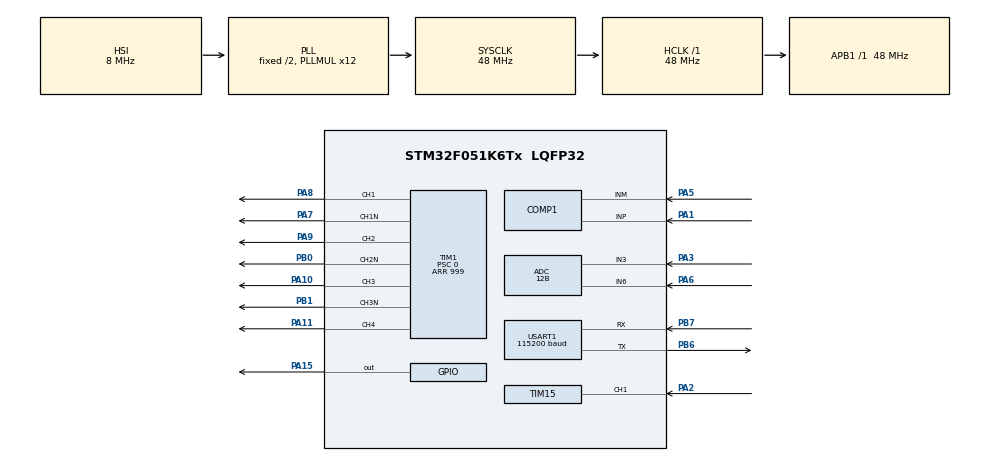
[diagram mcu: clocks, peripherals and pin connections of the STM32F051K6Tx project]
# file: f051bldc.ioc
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ADC.ClockPrescaler=ADC_CLOCK_ASYNC_DIV1
ADC.ContinuousConvMode=DISABLE
ADC.DMAContinuousRequests=ENABLE
ADC.DataAlign=ADC_DATAALIGN_RIGHT
ADC.DiscontinuousConvMode=ENABLE
ADC.EOCSelection=ADC_EOC_SEQ_CONV
ADC.EnableAnalogWatchDog=false
ADC.ExternalTrigConv=ADC_EXTERNALTRIGCONV_T1_CC4
ADC.ExternalTrigConvEdge=ADC_EXTERNALTRIGCONVEDGE_RISING
ADC.LowPowerAutoPowerOff=DISABLE
ADC.LowPowerAutoWait=DISABLE
ADC.Overrun=ADC_OVR_DATA_PRESERVED
ADC.Resolution=ADC_RESOLUTION_12B
ADC.SamplingTime=ADC_SAMPLETIME_239CYCLES_5
ADC.ScanConvMode=ADC_SCAN_DIRECTION_FORWARD
COMP1.Hysteresis=COMP_HYSTERESIS_LOW
COMP1.TriggerMode=COMP_TRIGGERMODE_IT_RISING_FALLING
Dma.ADC.0.Direction=DMA_PERIPH_TO_MEMORY
Dma.ADC.0.Instance=DMA1_Channel1
Dma.ADC.0.MemDataAlignment=DMA_MDATAALIGN_WORD
Dma.ADC.0.MemInc=DMA_MINC_ENABLE
Dma.ADC.0.Mode=DMA_CIRCULAR
Dma.ADC.0.PeriphDataAlignment=DMA_PDATAALIGN_WORD
Dma.ADC.0.PeriphInc=DMA_PINC_DISABLE
Dma.ADC.0.Priority=DMA_PRIORITY_MEDIUM
Dma.Request0=ADC
Dma.Request1=TIM15_CH1/UP/TRIG/COM
Dma.Request2=USART1_RX
Dma.Request3=USART1_TX
Dma.TIM15_CH1/UP/TRIG/COM.1.Direction=DMA_PERIPH_TO_MEMORY
Dma.TIM15_CH1/UP/TRIG/COM.1.Instance=DMA1_Channel5
Dma.TIM15_CH1/UP/TRIG/COM.1.MemDataAlignment=DMA_MDATAALIGN_WORD
Dma.TIM15_CH1/UP/TRIG/COM.1.MemInc=DMA_MINC_ENABLE
Dma.TIM15_CH1/UP/TRIG/COM.1.Mode=DMA_NORMAL
Dma.TIM15_CH1/UP/TRIG/COM.1.PeriphDataAlignment=DMA_PDATAALIGN_HALFWORD
Dma.TIM15_CH1/UP/TRIG/COM.1.PeriphInc=DMA_PINC_DISABLE
Dma.TIM15_CH1/UP/TRIG/COM.1.Priority=DMA_PRIORITY_LOW
Dma.USART1_RX.2.Direction=DMA_PERIPH_TO_MEMORY
Dma.USART1_RX.2.Instance=DMA1_Channel3
Dma.USART1_RX.2.MemDataAlignment=DMA_MDATAALIGN_BYTE
Dma.USART1_RX.2.MemInc=DMA_MINC_ENABLE
Dma.USART1_RX.2.Mode=DMA_NORMAL
Dma.USART1_RX.2.PeriphDataAlignment=DMA_PDATAALIGN_BYTE
Dma.USART1_RX.2.PeriphInc=DMA_PINC_DISABLE
Dma.USART1_RX.2.Priority=DMA_PRIORITY_LOW
Dma.USART1_TX.3.Direction=DMA_MEMORY_TO_PERIPH
Dma.USART1_TX.3.Instance=DMA1_Channel2
Dma.USART1_TX.3.MemDataAlignment=DMA_MDATAALIGN_BYTE
Dma.USART1_TX.3.MemInc=DMA_MINC_ENABLE
Dma.USART1_TX.3.Mode=DMA_NORMAL
Dma.USART1_TX.3.PeriphDataAlignment=DMA_PDATAALIGN_BYTE
Dma.USART1_TX.3.PeriphInc=DMA_PINC_DISABLE
Dma.USART1_TX.3.Priority=DMA_PRIORITY_LOW
IWDG.Prescaler=IWDG_PRESCALER_16
IWDG.Reload=4000
IWDG.Window=4095
Mcu.Family=STM32F0
Mcu.Name=STM32F051K6Tx
Mcu.Package=LQFP32
NVIC.ADC1_COMP_IRQn=true\:1\:0\:true\:false\:true\:false\:true
NVIC.DMA1_Channel1_IRQn=true\:2\:0\:true\:false\:true\:false\:true
NVIC.DMA1_Channel2_3_IRQn=true\:0\:0\:false\:false\:true\:false\:true
NVIC.DMA1_Channel4_5_IRQn=true\:2\:0\:true\:false\:true\:false\:true
PA1.Mode=INP
PA1.Signal=COMP1_INP
PA10.Signal=S_TIM1_CH3
PA11.Signal=S_TIM1_CH4
PA13.Mode=Serial_Wire
PA13.Signal=SYS_SWDIO
PA14.Mode=Serial_Wire
PA14.Signal=SYS_SWCLK
PA15.Signal=GPIO_Output
PA2.Signal=S_TIM15_CH1
PA3.Mode=IN3
PA3.Signal=ADC_IN3
PA5.Mode=INM
PA5.Signal=COMP1_INM
PA6.Mode=IN6
PA6.Signal=ADC_IN6
PA7.Mode=PWM Generation1 CH1 CH1N
PA7.Signal=TIM1_CH1N
PA8.Signal=S_TIM1_CH1
PA9.Signal=S_TIM1_CH2
PB0.Mode=PWM Generation2 CH2 CH2N
PB0.Signal=TIM1_CH2N
PB1.Mode=PWM Generation3 CH3 CH3N
PB1.Signal=TIM1_CH3N
PB6.Mode=Asynchronous
PB6.Signal=USART1_TX
PB7.Mode=Asynchronous
PB7.Signal=USART1_RX
ProjectManager.HeapSize=0x200
ProjectManager.StackSize=0x400
ProjectManager.TargetToolchain=Makefile
RCC.AHBFreq_Value=48000000
RCC.APB1Freq_Value=48000000
RCC.APB1TimFreq_Value=48000000
RCC.HCLKFreq_Value=48000000
RCC.PLLMUL=RCC_PLL_MUL12
RCC.SYSCLKFreq_VALUE=48000000
RCC.SYSCLKSource=RCC_SYSCLKSOURCE_PLLCLK
SH.S_TIM15_CH1.0=TIM15_CH1,Input_Capture1_from_TI1
SH.S_TIM1_CH1.0=TIM1_CH1,PWM Generation1 CH1 CH1N
SH.S_TIM1_CH2.0=TIM1_CH2,PWM Generation2 CH2 CH2N
SH.S_TIM1_CH3.0=TIM1_CH3,PWM Generation3 CH3 CH3N
SH.S_TIM1_CH4.0=TIM1_CH4,PWM Generation4 CH4
TIM1.Channel-PWM\ Generation1\ CH1\ CH1N=TIM_CHANNEL_1
TIM1.Channel-PWM\ Generation2\ CH2\ CH2N=TIM_CHANNEL_2
TIM1.Channel-PWM\ Generation3\ CH3\ CH3N=TIM_CHANNEL_3
TIM1.Channel-PWM\ Generation4\ CH4=TIM_CHANNEL_4
TIM1.CounterMode=TIM_COUNTERMODE_CENTERALIGNED1
TIM1.DeadTime=60
TIM1.Period=999
TIM1.Prescaler=0
TIM1.TIM_MasterOutputTrigger=TIM_TRGO_RESET
TIM1.TIM_MasterSlaveMode=TIM_MASTERSLAVEMODE_DISABLE
TIM15.Channel-Input_Capture1_from_TI1=TIM_CHANNEL_1
TIM15.ICPolarity_CH1=TIM_INPUTCHANNELPOLARITY_BOTHEDGE
TIM15.Period=0xffff
TIM2.Period=5000
TIM2.Prescaler=100
TIM3.Period=65535
TIM3.Prescaler=10
USART1.BaudRate=115200
USART1.VirtualMode-Asynchronous=VM_ASYNC
VP_IWDG_VS_IWDG.Mode=IWDG_Activate
VP_TIM15_VS_ClockSourceINT.Mode=Internal
VP_TIM1_VS_ClockSourceINT.Mode=Internal
VP_TIM2_VS_ClockSourceINT.Mode=Internal
VP_TIM3_VS_ClockSourceINT.Mode=Internal
board=f051bldc

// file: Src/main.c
/* USER CODE BEGIN Header */
/**
  ******************************************************************************
  * @file           : main.c
  * @brief          : Main program body
  ******************************************************************************
  * @attention
  *
  * <h2><center>&copy; Copyright (c) 2019 STMicroelectronics.
  * All rights reserved.</center></h2>
  *
  * This software component is licensed by ST under BSD 3-Clause license,
  * the "License"; You may not use this file except in compliance with the
  * License. You may obtain a copy of the License at:
  *                        opensource.org/licenses/BSD-3-Clause
  *
  ******************************************************************************
  */
/* USER CODE END Header */

#include "main.h"

/* USER CODE BEGIN Includes */
#include "eeprom.h"
/* USER CODE END Includes */

ADC_HandleTypeDef hadc;
DMA_HandleTypeDef hdma_adc;

COMP_HandleTypeDef hcomp1;

IWDG_HandleTypeDef hiwdg;

TIM_HandleTypeDef htim1;
TIM_HandleTypeDef htim2;
TIM_HandleTypeDef htim3;
TIM_HandleTypeDef htim15;
DMA_HandleTypeDef hdma_tim15_ch1_up_trig_com;

UART_HandleTypeDef huart1;
DMA_HandleTypeDef hdma_usart1_rx;
DMA_HandleTypeDef hdma_usart1_tx;

/* USER CODE BEGIN PV */
/* Private variables ---------------------------------------------------------*/

#define MP6531
//#define FD6288

uint16_t VirtAddVarTab[NB_OF_VAR] = {0x5555, 0x6666, 0x7777};
uint16_t VarDataTab[NB_OF_VAR] = {0, 0, 0};
uint16_t VarValue, VarDataTmp;

uint32_t ee_status;

// variables to use for eeprom function,  ie: EE_WriteVariable(VirtAddVarTab[EEvehiclemode],  vehicle_mode ;

enum userVars
{
	EEvehiclemode = 0,
	EEdirection = 1,
	EEbidirection = 2,
	//	EEbrake_on_stop = 3
};
char vehicle_mode = 1; // 1 = quad mode / eeprom load mode , 2 = crawler / thruster mode,  3 = rc car mode,  4 = like car mode but with auto reverse after stop
int dead_time = 50;		 // change to 60 for qfn

int dir_reversed = 0; // global direction reversed set in eeprom
int step = 1;

int forcedcomcount = 0;
int commandcount = 0;
char bad_commutation = 0;

int bi_direction = 0;
char slow_decay = 1; // for complementary pwm , 0 for diode freewheeling
int brake = 1;			 // apply full motor brake on stop
int start_power = 150;
char prop_brake = 0;
int prop_brake_strength = 300;

char prop_brake_active = 0;
int adjusted_input;

int dshotcommand = 0;
uint8_t calcCRC;
uint8_t checkCRC;
char error = 0;

int quietmode = 0;
int count = 0;
int tempbrake = 0;

char advancedivisor = 8; // increase divisor to decrease advance,
char advancedivisorup = 3;
char advancedivisordown = 3;

int thiszctime = 0;
int lastzctime = 0;
int sensorless = 0;
int commutation_interval = 0;
int advance = 0; // set proportianal to commutation time. with advance divisor
int blanktime;
int pwm_settle = 50;
int demagtime = 5;
int waitTime = 0;
char filter_level = 1;
char compit = 0;
int filter_delay = 2;

int filter_level_up = 8;
int filter_level_down = 8;
int forcedcount = 0;
int control_loop_count;
int zctimeout = 0;
int zc_timeout_threshold = 2000; // depends on speed of main loop

int signaltimeout = 0;
int signal_timeout_threshold = 10000;

int temp_step;
int ROC = 1;

int zcfound = 1;
int threshold = 1;
int upthreshold = 1;
int tim2_start_arr = 9000;
int startupcountdown = 0;

int duty_cycle = 100;

int pwm = 1;
int floating = 2;
int lowside = 3;
int bemf_counts;

int forward = 1;
int rising = 1;
int running = 0;
int started = 0;
char armed = 0;
int armedcount = 0;

int input_buffer_size = 64;
int smallestnumber = 20000;
uint32_t dma_buffer[64];
int propulse[4] = {0, 0, 0, 0};
int dpulse[16] = {0, 0, 0, 0, 0, 0, 0, 0, 0, 0, 0, 0, 0, 0, 0, 0};

int input = 0;
int newinput = 0;

int voltageraw = 0;
int currentraw = 0;
uint32_t ADC1ConvertedValues[2] = {0, 0};
int timestamp;

char dshot = 0;
char proshot = 0;
char multishot = 0;
char oneshot42 = 0;
char oneshot125 = 0;
char servoPwm = 0;

char inputSet = 0;

/* USER CODE END PV */

void SystemClock_Config(void);
static void MX_GPIO_Init(void);
static void MX_DMA_Init(void);
static void MX_ADC_Init(void);
static void MX_COMP1_Init(void);
static void MX_TIM1_Init(void);
static void MX_TIM2_Init(void);
static void MX_TIM3_Init(void);
static void MX_TIM15_Init(void);
static void MX_IWDG_Init(void);
static void MX_USART1_UART_Init(void);
/* USER CODE BEGIN PFP */
/* Private function prototypes -----------------------------------------------*/
long map(long x, long in_min, long in_max, long out_min, long out_max)
{
	if (x < in_min)
	{
		x = in_min;
	}
	if (x > in_max)
	{
		x = in_max;
	}
	return (x - in_min) * (out_max - out_min) / (in_max - in_min) + out_min;
}

void storeEEpromConfig()
{

	EE_WriteVariable(VirtAddVarTab[EEvehiclemode], vehicle_mode);
	EE_WriteVariable(VirtAddVarTab[EEdirection], dir_reversed);
	EE_WriteVariable(VirtAddVarTab[EEbidirection], bi_direction);
	// EE_WriteVariable(VirtAddVarTab[EEbrake_on_stop], EEbrake_on_stop);

	// playEEpromSavedTune();
}

void loadEEpromConfig()
{
	EE_ReadVariable(VirtAddVarTab[EEvehiclemode], &VarDataTab[EEvehiclemode]);
	EE_ReadVariable(VirtAddVarTab[EEdirection], &VarDataTab[EEdirection]);
	EE_ReadVariable(VirtAddVarTab[EEbidirection], &VarDataTab[EEbidirection]);
	//	 EE_ReadVariable(VirtAddVarTab[EEbrake_on_stop], &VarDataTab[EEbrake_on_stop]);

	if (VarDataTab[EEvehiclemode] == 0)
	{											 // nothing in the eeprom
		storeEEpromConfig(); // store default values
	}
	else
	{
		vehicle_mode = VarDataTab[EEvehiclemode];
		dir_reversed = VarDataTab[EEdirection];
		bi_direction = VarDataTab[EEbidirection];
		//	 brake = VarDataTab[EEbrake_on_stop];
	}
}

int getAbsDif(int number1, int number2)
{
	int result = number1 - number2;
	if (result < 0)
	{
		result = -result;
	}
	return result;
}

#ifdef MP6531
void phaseA(int newPhase)
{ // phaseB qfnf051 , phase A qfp32
#endif
#ifdef FD6288
void phaseB(int newPhase)
{
#endif
	if (newPhase == pwm)
	{
		if (!slow_decay || prop_brake_active)
		{ // for future
			LL_GPIO_SetPinMode(GPIOB, GPIO_PIN_0, LL_GPIO_MODE_OUTPUT);
			GPIOB->BRR = GPIO_PIN_0;
		}
		else
		{
			LL_GPIO_SetPinMode(GPIOB, GPIO_PIN_0, LL_GPIO_MODE_ALTERNATE); // low
		}
		LL_GPIO_SetPinMode(GPIOA, GPIO_PIN_9, LL_GPIO_MODE_ALTERNATE); // high
	}

	if (newPhase == floating)
	{
		LL_GPIO_SetPinMode(GPIOB, GPIO_PIN_0, LL_GPIO_MODE_OUTPUT);
		GPIOB->BRR = GPIO_PIN_0;
		LL_GPIO_SetPinMode(GPIOA, GPIO_PIN_9, LL_GPIO_MODE_OUTPUT);
		GPIOA->BRR = GPIO_PIN_9;
	}

	if (newPhase == lowside)
	{ // low mosfet on
		LL_GPIO_SetPinMode(GPIOB, GPIO_PIN_0, LL_GPIO_MODE_OUTPUT);
		GPIOB->BSRR = GPIO_PIN_0;
		LL_GPIO_SetPinMode(GPIOA, GPIO_PIN_9, LL_GPIO_MODE_OUTPUT);
		GPIOA->BRR = GPIO_PIN_9;
	}
}

#ifdef MP6531
void phaseB(int newPhase)
{ // phase c qfn , phase b qfp
#endif
#ifdef FD6288
	void phaseC(int newPhase)
	{
#endif
	if (newPhase == pwm)
	{ // pwm
		if (!slow_decay || prop_brake_active)
		{
			LL_GPIO_SetPinMode(GPIOA, GPIO_PIN_7, LL_GPIO_MODE_OUTPUT);
			GPIOA->BRR = GPIO_PIN_7;
		}
		else
		{
			LL_GPIO_SetPinMode(GPIOA, GPIO_PIN_7, LL_GPIO_MODE_ALTERNATE);
		}
		LL_GPIO_SetPinMode(GPIOA, GPIO_PIN_8, LL_GPIO_MODE_ALTERNATE);
	}

	if (newPhase == floating)
	{ // floating
		LL_GPIO_SetPinMode(GPIOA, GPIO_PIN_7, LL_GPIO_MODE_OUTPUT);
		GPIOA->BRR = GPIO_PIN_7;
		LL_GPIO_SetPinMode(GPIOA, GPIO_PIN_8, LL_GPIO_MODE_OUTPUT);
		GPIOA->BRR = GPIO_PIN_8;
	}

	if (newPhase == lowside)
	{ // lowside
		LL_GPIO_SetPinMode(GPIOA, GPIO_PIN_7, LL_GPIO_MODE_OUTPUT);
		GPIOA->BSRR = GPIO_PIN_7;
		LL_GPIO_SetPinMode(GPIOA, GPIO_PIN_8, LL_GPIO_MODE_OUTPUT);
		GPIOA->BRR = GPIO_PIN_8;
	}
}

#ifdef MP6531
void phaseC(int newPhase)
{ // phaseA qfn , phase C qfp
#endif
#ifdef FD6288
void phaseA(int newPhase)
{
#endif
	if (newPhase == pwm)
	{
		if (!slow_decay || prop_brake_active)
		{
			LL_GPIO_SetPinMode(GPIOB, GPIO_PIN_1, LL_GPIO_MODE_OUTPUT);
			GPIOB->BRR = GPIO_PIN_1;
		}
		else
		{
			LL_GPIO_SetPinMode(GPIOB, GPIO_PIN_1, LL_GPIO_MODE_ALTERNATE);
		}
		LL_GPIO_SetPinMode(GPIOA, GPIO_PIN_10, LL_GPIO_MODE_ALTERNATE);
	}

	if (newPhase == floating)
	{
		LL_GPIO_SetPinMode(GPIOB, GPIO_PIN_1, LL_GPIO_MODE_OUTPUT);
		GPIOB->BRR = GPIO_PIN_1;
		LL_GPIO_SetPinMode(GPIOA, GPIO_PIN_10, LL_GPIO_MODE_OUTPUT);
		GPIOA->BRR = GPIO_PIN_10;
	}

	if (newPhase == lowside)
	{
		LL_GPIO_SetPinMode(GPIOB, GPIO_PIN_1, LL_GPIO_MODE_OUTPUT);
		GPIOB->BSRR = GPIO_PIN_1;
		LL_GPIO_SetPinMode(GPIOA, GPIO_PIN_10, LL_GPIO_MODE_OUTPUT);
		GPIOA->BRR = GPIO_PIN_10;
	}
}

void comStep(int newStep)
{
	if (newStep == 1)
	{ //A-B
		phaseA(pwm);
		phaseB(lowside);
		phaseC(floating);
	}

	if (newStep == 2)
	{ // C-B
		phaseA(floating);
		phaseB(lowside);
		phaseC(pwm);
	}

	if (newStep == 3)
	{ // C-A
		phaseA(lowside);
		phaseB(floating);
		phaseC(pwm);
	}

	if (newStep == 4)
	{ // B-A
		phaseA(lowside);
		phaseB(pwm);
		phaseC(floating);
	}

	if (newStep == 5)
	{ // B-C
		phaseA(floating);
		phaseB(pwm);
		phaseC(lowside);
	}

	if (newStep == 6)
	{ // A-C
		phaseA(pwm);
		phaseB(floating);
		phaseC(lowside);
	}
}

void allOff()
{ // coast
	phaseA(floating);
	phaseB(floating);
	phaseC(floating);
}

void fullBrake()
{ // full braking shorting all low sides
	phaseA(lowside);
	phaseB(lowside);
	phaseC(lowside);
}

void proBrake()
{ // duty cycle controls braking strength
	//	prop_brake_active = 1;       // will turn off lower fets so only high side is active
	phaseA(pwm);
	phaseB(pwm);
	phaseC(pwm);
}

void changeCompInput()
{
	//	HAL_COMP_Stop_IT(&hcomp1);            // done in comparator routine
	if (step == 1 || step == 4)
	{ // c floating
		hcomp1.Init.InvertingInput = COMP_INVERTINGINPUT_IO1;
	}

	if (step == 2 || step == 5)
	{ // a floating
#ifdef MP6531
		hcomp1.Init.InvertingInput = COMP_INVERTINGINPUT_DAC1; /// if f051k6  step 2 , 5 is dac 1 ( swap comp input)
#endif
#ifdef FD6288
		hcomp1.Init.InvertingInput = COMP_INVERTINGINPUT_DAC2;
#endif
	}

	if (step == 3 || step == 6)
	{ // b floating
#ifdef MP6531
		hcomp1.Init.InvertingInput = COMP_INVERTINGINPUT_DAC2;
#endif
#ifdef FD6288
		hcomp1.Init.InvertingInput = COMP_INVERTINGINPUT_DAC1;
#endif
	}

	if (rising)
	{
		hcomp1.Init.TriggerMode = COMP_TRIGGERMODE_IT_FALLING; // polarity of comp output reversed
	}
	else
	{ // falling bemf
		hcomp1.Init.TriggerMode = COMP_TRIGGERMODE_IT_RISING;
	}

	if (HAL_COMP_Init(&hcomp1) != HAL_OK)
	{
		Error_Handler();
	}
}

void commutate()
{
	if (forward == 1)
	{
		step++;
		if (step > 6)
		{
			step = 1;
		}
		if (step == 1 || step == 3 || step == 5)
		{
			rising = 1; // is back emf rising or falling
		}
		if (step == 2 || step == 4 || step == 6)
		{
			rising = 0;
		}
	}

	if (forward == 0)
	{
		step--;
		if (step < 1)
		{
			step = 6;
		}
		if (step == 1 || step == 3 || step == 5)
		{
			rising = 0;
		}
		if (step == 2 || step == 4 || step == 6)
		{
			rising = 1;
		}
	}

	if (input > 47)
	{
		comStep(step);
	}
	changeCompInput();
	//	zcfound = 0;
	//	falseAlarm = 0;
	//	compCount = 0;
	//	upcompCount = 0;
	//	TIM2->CNT = 0;
	//	TIM2->ARR = commutation_interval;
}

void HAL_TIM_PeriodElapsedCallback(TIM_HandleTypeDef * htim)
{ // for forced commutation -
	if (htim->Instance == TIM2)
	{
	}
}

void startMotor()
{
	char decaystate = slow_decay;
	sensorless = 0;

	if (running == 0)
	{
		HAL_COMP_Stop_IT(&hcomp1);
		slow_decay = 1;
		commutate();
		commutation_interval = 20000;
		TIM3->CNT = 0;
		TIM2->CNT = 0;
		TIM2->ARR = commutation_interval * 2;
		running = 1;

		if (HAL_COMP_Start_IT(&hcomp1) != HAL_OK)
		{
			/* Initialization Error */
			Error_Handler();
		}
	}

	slow_decay = decaystate; // return to normal
	sensorless = 1;
	startupcountdown = 0;
	bemf_counts = 0;
}

void forcedCommutation()
{
	HAL_COMP_Stop_IT(&hcomp1);
	TIM3->CNT = commutation_interval / 2;
	commutate();
	while (TIM3->CNT - commutation_interval / 2 < blanktime)
	{
	}
	if (HAL_COMP_Start_IT(&hcomp1) != HAL_OK)
	{
`		/* Initialization Error */
		Error_Handler();
	}
}

void HAL_COMP_TriggerCallback(COMP_HandleTypeDef * hcomp)
{
	/* Turn On LED3 */
	if (bemf_counts > 100 && commutation_interval < 300)
	{
		thiszctime = TIM3->CNT;
		//		GPIOA->BSRR = GPIO_PIN_15;
		while (TIM3->CNT - thiszctime < filter_delay)
		{
		}

		if (HAL_COMP_GetOutputLevel(&hcomp1) == rising)
		{
			return;
		}
		TIM3->CNT = 0;

		HAL_COMP_Stop_IT(&hcomp1);
		zctimeout = 0;
		commutation_interval = ((2 * commutation_interval) + thiszctime) / 3; // TEST!   divide by two when tracking up down time independant
		bad_commutation = 0;

		advance = commutation_interval / advancedivisor;
		waitTime = commutation_interval / 2 - advance;
		blanktime = commutation_interval / 3;
		while (TIM3->CNT < waitTime)
		{
		}

		forcedcount = 0;
		compit = 0;
		commutate();
		while (TIM3->CNT < waitTime + blanktime)
		{
		}
	}
	else
	{
		timestamp = TIM3->CNT;
		//	GPIOA->BSRR = GPIO_PIN_15;

		if (compit > 200)
		{
			HAL_COMP_Stop_IT(&hcomp1);
			//	error = 1;
			return;
		}
		compit += 1;
		while (TIM3->CNT - timestamp < filter_delay)
		{
		}

		if (rising)
		{
			//	advancedivisor = advancedivisorup;
			for (int i = 0; i < filter_level; i++)
			{
				if (HAL_COMP_GetOutputLevel(&hcomp1) == COMP_OUTPUTLEVEL_HIGH)
				{
					//		GPIOA->BRR = GPIO_PIN_15;
					return;
				}
			}
		}
		else
		{
			//	advancedivisor = advancedivisordown;
			for (int i = 0; i < filter_level; i++)
			{
				if (HAL_COMP_GetOutputLevel(&hcomp1) == COMP_OUTPUTLEVEL_LOW)
				{
					//		GPIOA->BRR = GPIO_PIN_15;
					return;
				}
			}
		}

		thiszctime = timestamp;
		TIM3->CNT = TIM3->CNT - timestamp;

		HAL_COMP_Stop_IT(&hcomp1);

		zctimeout = 0;

		commutation_interval = ((4 * commutation_interval) + thiszctime) / 5; // TEST!   divide by two when tracking up down time independant
		bad_commutation = 0;

		advance = commutation_interval / advancedivisor;
		waitTime = commutation_interval / 2 - advance;
		blanktime = commutation_interval / 4;
		//	GPIOA->BRR = GPIO_PIN_15;

		if (tempbrake)
		{
			HAL_COMP_Stop_IT(&hcomp1);
			return;
		}

		if (sensorless)
		{
			while (TIM3->CNT < waitTime)
			{
				GPIOA->BSRR = GPIO_PIN_15;
			}
			GPIOA->BRR = GPIO_PIN_15;
			forcedcount = 0;
			compit = 0;
			commutate();
			while (TIM3->CNT < waitTime + blanktime)
			{
			}
		}

		lastzctime = thiszctime;
		if (bemf_counts < 200)
		{
			bemf_counts++;
		}
	}
	//	GPIOA->BSRR = GPIO_PIN_15;
	if (HAL_COMP_Start_IT(&hcomp1) != HAL_OK)
	{
		/* Initialization Error */
		Error_Handler();
	}
	//	GPIOA->BRR = GPIO_PIN_15;
}

void playStartupTune()
{
	TIM1->PSC = 75;
	TIM1->CCR1 = 5;
	TIM1->CCR2 = 5;
	TIM1->CCR3 = 5;
	comStep(2);
	HAL_Delay(100);
	TIM1->PSC = 50;
	HAL_Delay(100);
	TIM1->PSC = 25;
	HAL_Delay(100);
	allOff();
	TIM1->PSC = 0;
}

void playInputTune()
{
	TIM1->PSC = 100;
	TIM1->CCR1 = 5;
	TIM1->CCR2 = 5;
	TIM1->CCR3 = 5;
	comStep(2);
	HAL_Delay(100);
	TIM1->PSC = 50;
	HAL_Delay(100);
	allOff();
	TIM1->PSC = 0;
}

void getADCs()
{
	voltageraw = ADC1ConvertedValues[0];
	currentraw = ADC1ConvertedValues[1];
	//pot = ADC1ConvertedValues[2];
}

void HAL_ADC_ConvCpltCallback(ADC_HandleTypeDef * hadc)
{
	getADCs();
}

void detectInput()
{
	smallestnumber = 20000;
	dshot = 0;
	proshot = 0;
	multishot = 0;
	oneshot42 = 0;
	oneshot125 = 0;
	servoPwm = 0;
	int lastnumber = dma_buffer[0];
	for (int j = 1; j < input_buffer_size; j++)
	{
		if ((dma_buffer[j] - lastnumber) < smallestnumber)
		{ // blank space
			smallestnumber = dma_buffer[j] - lastnumber;
		}
		lastnumber = dma_buffer[j];
	}

	if ((smallestnumber > 3) && (smallestnumber < 22))
	{
		dshot = 1;
	}
	if ((smallestnumber > 40) && (smallestnumber < 80))
	{
		proshot = 1;
		TIM15->PSC = 1;
		TIM15->CNT = 0xffff;
	}
	if ((smallestnumber > 100) && (smallestnumber < 400))
	{
		multishot = 1;
	}
	//	if ((smallestnumber > 2000 )&&(smallestnumber < 3000)){
	//		oneshot42 = 1;
	//	}
	//	if ((smallestnumber > 3000 )&&(smallestnumber < 7000)){
	//		oneshot125 = 1;
	//	}
	if (smallestnumber > 2000)
	{
		servoPwm = 1;
		TIM15->PSC = 47;
		TIM15->CNT = 0xffff;
	}

	if (smallestnumber == 0)
	{
		inputSet = 0;
	}
	else
	{
		inputSet = 1;
		HAL_Delay(50);
		//	playInputTune();
	}
	HAL_TIM_IC_Start_DMA(&htim15, TIM_CHANNEL_1, dma_buffer, 64);
}

void computeProshotDMA()
{
	int lastnumber = dma_buffer[0];
	for (int j = 1; j < 9; j++)
	{
		if (((dma_buffer[j] - lastnumber) > 1500) && ((dma_buffer[j] - lastnumber) < 50000))
		{ // blank space
			if ((dma_buffer[j + 7] - dma_buffer[j]) < 10000)
			{
				for (int i = 0; i < 4; i++)
				{
					propulse[i] = (((dma_buffer[j + i * 2 + 1] - dma_buffer[j + i * 2])) - 23) / 3;
				}

				calcCRC = ((propulse[0] ^ propulse[1] ^ propulse[2]) << 3 | (propulse[0] ^ propulse[1] ^ propulse[2]) << 2 | (propulse[0] ^ propulse[1] ^ propulse[2]) << 1 | (propulse[0] ^ propulse[1] ^ propulse[2]));
				checkCRC = (propulse[3] << 3 | propulse[3] << 2 | propulse[3] << 1 | propulse[3]);
			}

			int tocheck = ((propulse[0] << 7 | propulse[1] << 3 | propulse[2] >> 1));
			if (tocheck > 2047 || tocheck < 0)
			{
				break;
			}
			else
			{
				if (calcCRC == checkCRC)
				{
					if (tocheck > 47 && tocheck <= 2047)
					{
						newinput = tocheck;
						dshotcommand = 0;
						commandcount = 0;
					}

					if ((tocheck <= 47) && (tocheck > 0))
					{
						commandcount++;
						if (commandcount > 1)
						{
							newinput = 0;
							dshotcommand = tocheck; //  todo
							commandcount = 0;
						}
					}
					if (tocheck == 0)
					{
						commandcount++;
						if (commandcount > 1)
						{
							newinput = 0;
							dshotcommand = 0;
							commandcount = 0;
						}
					}
				}
			}
			break;
		}
		lastnumber = dma_buffer[j];
	}
}

void computeMSInput()
{
	int lastnumber = dma_buffer[0];
	for (int j = 1; j < 2; j++)
	{
		if (((dma_buffer[j] - lastnumber) < 1500) && ((dma_buffer[j] - lastnumber) > 0))
		{ // blank space
			newinput = map((dma_buffer[j] - lastnumber), 243, 1200, 0, 2000);
			break;
		}
		lastnumber = dma_buffer[j];
	}
}

void computeOS125Input()
{
	int lastnumber = dma_buffer[0];
	for (int j = 1; j < 2; j++)
	{
		if (((dma_buffer[j] - lastnumber) < 12300) && ((dma_buffer[j] - lastnumber) > 0))
		{ // blank space
			newinput = map((dma_buffer[j] - lastnumber), 6500, 12000, 0, 2000);
			break;
		}
		lastnumber = dma_buffer[j];
	}
}

void computeOS42Input()
{
	int lastnumber = dma_buffer[0];
	for (int j = 1; j < 2; j++)
	{
		if (((dma_buffer[j] - lastnumber) < 4500) && ((dma_buffer[j] - lastnumber) > 0))
		{ // blank space
			newinput = map((dma_buffer[j] - lastnumber), 2020, 4032, 0, 2000);
			break;
		}
		lastnumber = dma_buffer[j];
	}
}

void computeServoInput()
{
	int lastnumber = dma_buffer[0];
	for (int j = 1; j < 3; j++)
	{
		if (((dma_buffer[j] - lastnumber) > 1000) && ((dma_buffer[j] - lastnumber) < 2010))
		{ // blank space
			newinput = map((dma_buffer[j] - lastnumber), 1150, 2000, 0, 2000);
			break;
		}
		lastnumber = dma_buffer[j];
	}
}

void computeDshotDMA()
{
	int lastnumber = dma_buffer[0];
	for (int j = 1; j < input_buffer_size; j++)
	{
		if (((dma_buffer[j] - lastnumber) > 50) && ((dma_buffer[j] - lastnumber) < 65000))
		{ // blank space
			for (int i = 0; i < 16; i++)
			{
				dpulse[i] = ((dma_buffer[j + i * 2 + 1] - dma_buffer[j + i * 2]) / 13) - 1;
			}

			uint8_t calcCRC = ((dpulse[0] ^ dpulse[4] ^ dpulse[8]) << 3 | (dpulse[1] ^ dpulse[5] ^ dpulse[9]) << 2 | (dpulse[2] ^ dpulse[6] ^ dpulse[10]) << 1 | (dpulse[3] ^ dpulse[7] ^ dpulse[11]));
			uint8_t checkCRC = (dpulse[12] << 3 | dpulse[13] << 2 | dpulse[14] << 1 | dpulse[15]);
			//
			int tocheck = (dpulse[0] << 10 | dpulse[1] << 9 | dpulse[2] << 8 | dpulse[3] << 7 | dpulse[4] << 6 | dpulse[5] << 5 | dpulse[6] << 4 | dpulse[7] << 3 | dpulse[8] << 2 | dpulse[9] << 1 | dpulse[10]);
			if (calcCRC == checkCRC)
			{
				if (tocheck > 47 && tocheck <= 2047)
				{
					newinput = tocheck;
					dshotcommand = 0;
					commandcount = 0;
				}

				if ((tocheck <= 47) && (tocheck > 0))
				{
					commandcount++;
					if (commandcount > 1)
					{
						newinput = 0;
						dshotcommand = tocheck; //  todo
						commandcount = 0;
					}
				}
				if (tocheck == 0)
				{
					commandcount++;
					if (commandcount > 1)
					{
						newinput = 0;
						dshotcommand = 0;
						commandcount = 0;
					}
				}
			}

			break;
		}
		lastnumber = dma_buffer[j];
	}
}

void transferComplete()
{
	//	TIM15->CNT = 1;
	//	compit = 0;
	signaltimeout = 0;
	HAL_GPIO_TogglePin(GPIOC, GPIO_PIN_3);

	if (inputSet == 1)
	{
		if (dshot == 1)
		{
			computeDshotDMA();
			HAL_TIM_IC_Start_DMA(&htim15, TIM_CHANNEL_1, dma_buffer, 64);
		}
		if (proshot == 1)
		{
			computeProshotDMA();
			HAL_TIM_IC_Start_DMA(&htim15, TIM_CHANNEL_1, dma_buffer, 16);
		}

		if (servoPwm == 1)
		{
			computeServoInput();
			HAL_TIM_IC_Start_DMA(&htim15, TIM_CHANNEL_1, dma_buffer, 3);
		}
		if (multishot)
		{
			computeMSInput();
			HAL_TIM_IC_Start_DMA(&htim15, TIM_CHANNEL_1, dma_buffer, 3);
		}
		if (oneshot125)
		{
			computeOS125Input();
			HAL_TIM_IC_Start_DMA(&htim15, TIM_CHANNEL_1, dma_buffer, 3);
		}
		if (oneshot42)
		{
			computeOS42Input();
			HAL_TIM_IC_Start_DMA(&htim15, TIM_CHANNEL_1, dma_buffer, 3);
		}
	}
}

//void zc_found_routine(){
//	 TIM3->CNT = 0;
//
//	if (thiszctime < lastzctime){
//		lastzctime = lastzctime - 65535;
//	}
//
//	if (thiszctime > lastzctime){
////		if (((thiszctime - lastzctime) > (commutation_interval * 2)) || ((thiszctime - lastzctime < commutation_interval/2))){
////		//	commutation_interval = (commutation_interval * 3 + (thiszctime - lastzctime))/4;
////			commutation_interval = (commutation_interval + (thiszctime - lastzctime))/2;
////		}else{
//			commutation_interval = (thiszctime - lastzctime);     // TEST!   divide by two when tracking up down time independant
//	//	}
//		advance = commutation_interval / advancedivisor;
//		waitTime = commutation_interval /2 - advance;
//	}
//	if (sensorless){
//		while (TIM3->CNT - thiszctime < waitTime){
//		}
//		commutate();
//		while (TIM3->CNT - thiszctime < waitTime + blanktime){
//		}
//	}
//
//	lastzctime = thiszctime;
//}

/* USER CODE END PFP */

int main(void)
{

  /* MCU Configuration--------------------------------------------------------*/

  /* Reset of all peripherals, Initializes the Flash interface and the Systick. */
  HAL_Init();

  /* Configure the system clock */
  SystemClock_Config();

  /* USER CODE BEGIN SysInit */
				HAL_FLASH_Unlock();
				EE_Init();
				//  HAL_Delay(10);
  /* USER CODE END SysInit */

  /* Initialize all configured peripherals */
  MX_GPIO_Init();
  MX_DMA_Init();
  MX_ADC_Init();
  MX_COMP1_Init();
  MX_TIM1_Init();
  MX_TIM2_Init();
  MX_TIM3_Init();
  MX_TIM15_Init();
  MX_IWDG_Init();
  MX_USART1_UART_Init();
  /* USER CODE BEGIN 2 */
	HAL_TIM_PWM_Start(&htim1, TIM_CHANNEL_1);
	HAL_TIMEx_PWMN_Start(&htim1, TIM_CHANNEL_1);
	HAL_TIM_PWM_Start(&htim1, TIM_CHANNEL_2);
	HAL_TIMEx_PWMN_Start(&htim1, TIM_CHANNEL_2);
	HAL_TIM_PWM_Start(&htim1, TIM_CHANNEL_3);
	HAL_TIMEx_PWMN_Start(&htim1, TIM_CHANNEL_3);

	//HAL_TIM_Base_Start_IT(&htim2);
	HAL_TIM_Base_Start(&htim3);
	//  HAL_Delay(500);
	playStartupTune();
	if (HAL_TIM_OC_Start_IT(&htim1, TIM_CHANNEL_4) != HAL_OK)
	{
		Error_Handler();
	}
	HAL_TIM_IC_Start_DMA(&htim15, TIM_CHANNEL_1, dma_buffer, 64);
	//	if (HAL_ADC_Start_DMA(&hadc, (uint32_t*)ADC1ConvertedValues, 2) != HAL_OK){
	//		Error_Handler();
	//
	//	}
	if (HAL_COMP_Start_IT(&hcomp1) != HAL_OK)
	{
		/* Initialization Error */
		Error_Handler();
	}
	//
	if (HAL_IWDG_Init(&hiwdg) != HAL_OK)
	{
		/* Initialization Error */
		Error_Handler();
	}

	if (vehicle_mode == 1)
	{ // quad single direction
		loadEEpromConfig();
	}

	if (vehicle_mode == 2)
	{ // crawler or thruster
		bi_direction = 1;
		slow_decay = 1; // for complementary pwm , 0 for diode freewheeling
		brake = 1;			// apply full motor brake on stop
		start_power = 150;
	}

	if (vehicle_mode == 3)
	{ // rc car 50 percent brake on reverse.
		bi_direction = 1;
		slow_decay = 0; // for complementary pwm , 0 for diode freewheeling
		brake = 0;			// apply full motor brake on stop
										//	 start_power = 150;
		prop_brake = 1;
		prop_brake_strength = 900;
	}
	if (vehicle_mode == 4)
	{ // rc car 50 percent brake on reverse.
		bi_direction = 1;
		slow_decay = 0; // for complementary pwm , 0 for diode freewheeling
		brake = 0;			// apply full motor brake on stop
										//		 start_power = 150;
		prop_brake = 1;
		prop_brake_strength = 800;
	}
	if (bi_direction)
	{
		newinput = 1001;
		//	start_power = 175;
	}

	TIM1->CCR1 = 1;
	TIM1->CCR2 = 1;
	TIM1->CCR3 = 1;
	TIM1->CCR4 = 800;
  /* USER CODE END 2 */

  /* Infinite loop */
  /* USER CODE BEGIN WHILE */
	while (1)
	{
		count++;
		if (count > 100000)
		{
			count = 0;
		}
		compit = 0;
		if (HAL_IWDG_Refresh(&hiwdg) != HAL_OK) // watchdog refresh
		{
			/* Refresh Error */
			Error_Handler();
		}
		control_loop_count++;
		if (control_loop_count > 1)
		{
			control_loop_count = 0;
			//	  		1-5: beep (1= low freq. 5 = high freq.)
			//	  		6: ESC info request (FW Version and SN sent over the tlm wire)
			//	  		7: rotate in one direction
			//	  		8: rotate in the other direction
			//	  		9: 3d mode off
			//	  		10: 3d mode on
			//	  		11: ESC settings request (saved settings over the TLM wire) (planed but not there yet)
			//	  		12: save Settings

			if (dshotcommand > 0)
			{
				if (dshotcommand == 2)
				{
					playInputTune();
				}
				if (dshotcommand == 21)
				{
					forward = dir_reversed;
				}
				if (dshotcommand == 20)
				{ // forward = 1 if dir_reversed = 0
					forward = 1 - dir_reversed;
				}
				if (dshotcommand == 7)
				{
					dir_reversed = 0;
				}
				if (dshotcommand == 8)
				{
					dir_reversed = 1;
				}
				if (dshotcommand == 9)
				{
					bi_direction = 0;
					armed = 0;
				}
				if (dshotcommand == 10)
				{
					bi_direction = 1;
					armed = 0;
				}
				if (dshotcommand == 12)
				{
					storeEEpromConfig();
					while (1)
					{ // resets esc as iwdg times out
					}
				}
			}

			if (bi_direction == 1 && (proshot == 0 && dshot == 0))
			{
				//char oldbrake = brake;

				if (newinput > 1100)
				{
					if (forward == dir_reversed)
					{
						adjusted_input = 0;
						prop_brake_active = 1;
						forward = 1 - dir_reversed;
						//	HAL_Delay(1);
					}

					if (prop_brake_active == 0)
					{
						adjusted_input = (newinput - 1050) * 3;
						//	tempbrake = 0;
						//	}
					}
				}
				if (newinput < 800)
				{
					if (forward == (1 - dir_reversed))
					{
						prop_brake_active = 1;
						adjusted_input = 0;
						forward = dir_reversed;
						//	HAL_Delay(1);
					}
					if (prop_brake_active == 0)
					{
						adjusted_input = (800 - newinput) * 3;
					}
					//	tempbrake = 0;
				}
				if (zctimeout >= zc_timeout_threshold)
				{
					//	adjusted_input = 0;
					if (vehicle_mode != 3)
					{ // car mode requires throttle return to center before direction change
						prop_brake_active = 0;
					}
					startupcountdown = 0;
					bemf_counts = 0;
				}
				if (newinput > 800 && newinput < 1100)
				{
					adjusted_input = 0;
					prop_brake_active = 0;
				}
			}
			else if ((proshot || dshot) && bi_direction)
			{
				if (newinput > 1097)
				{
					if (forward == dir_reversed)
					{
						forward = 1 - dir_reversed;
						bemf_counts = 0;
					}
					adjusted_input = (newinput - 1100) * 2 + 100;
				}
				if (newinput <= 1047 && newinput > 0)
				{
					if (forward == (1 - dir_reversed))
					{
						bemf_counts = 0;
						forward = dir_reversed;
					}
					adjusted_input = (newinput - 90) * 2;
				}
				if ((newinput > 1047 && newinput < 1098) || newinput <= 120)
				{
					adjusted_input = 0;
				}
			}
			else
			{
				adjusted_input = newinput;
			}
			//	if ((adjusted_input > 100)&&(startupcountdown>250)){
			if (adjusted_input > 2000)
			{
				adjusted_input = 2000;
			}
			if (adjusted_input - input > 25)
			{
				input = input + 5;
			}
			else if (input - adjusted_input > 25)
			{
				input = input - 5;
			}
			else
			{
				input = adjusted_input;
			}
		}
		advancedivisor = map((commutation_interval), 100, 5000, 3, 20);
		if (inputSet == 0)
		{
			HAL_Delay(10);
			detectInput();
		}
		if (!armed)
		{
			if ((inputSet == 1) && (input == 0))
			{
				armedcount++;
				HAL_Delay(1);
				if (armedcount > 1000)
				{
					armed = 1;
					playInputTune();
				}
			}
			if (input > 1)
			{
				armedcount = 0;
			}
		}

		if ((input > 47) && (armed == 1))
		{
			prop_brake_active = 0;
			started = 1;
			duty_cycle = input / 2 - 20;
			if (bemf_counts < 15)
			{
				if (duty_cycle < 40)
				{
					duty_cycle = 40;
				}
				if (duty_cycle > 400)
				{
					duty_cycle = 400;
				}
			}

			if (running)
			{
				if (duty_cycle > 998)
				{ // safety!!!
					duty_cycle = 999;
				}
				if (duty_cycle < 35)
				{
					duty_cycle = 35;
				}
				TIM1->CCR1 = duty_cycle; // set duty cycle to 50 out of 768 to start.
				TIM1->CCR2 = duty_cycle;
				TIM1->CCR3 = duty_cycle;
				//	TIM1->CCR4 = duty_cycle;
			}
		}
		//

		signaltimeout++;
		if (signaltimeout > signal_timeout_threshold)
		{
			input = 0;
			armed = 0;
			armedcount = 0;
			error = 1;
			//	  duty_cycle = 0;          //mid point
		}

		if (input <= 47)
		{
			error = 1;
			//	sensorless = 0;
			forcedcomcount = 0;
			started = 0;
			if (!brake && !prop_brake_active)
			{
				allOff();
			}
			duty_cycle = 0;
			if (brake || tempbrake)
			{
				fullBrake();
				duty_cycle = 0;
				//	HAL_COMP_Stop_IT(&hcomp1);
			}

			if (prop_brake && prop_brake_active)
			{
				//	prop_brake_active = 1;
				duty_cycle = prop_brake_strength;
				proBrake();
			}

			TIM1->CCR1 = duty_cycle; // set duty cycle to 50 out of 768 to start.
			TIM1->CCR2 = duty_cycle;
			TIM1->CCR3 = duty_cycle;
			//					if (commutation_interval > 60000){
			//						HAL_COMP_Stop_IT(&hcomp1);
			//					//	prop_brake_active = 0;
			//					}
		}

		if (bemf_counts < 100 || commutation_interval > 10000)
		{
			filter_delay = 15;
			filter_level = 10;
		}
		else
		{
			filter_level = 3;
			filter_delay = 3;
		}
		if (commutation_interval < 200 && duty_cycle > 500)
		{
			filter_delay = 1;
			filter_level = 0;
		}

		if (started == 1)
		{
			if (running == 0)
			{
				//		allOff();
				upthreshold = 2;
				threshold = 2;
				zctimeout = 0;
				startMotor(); // safety on for input testing   ************************************************
			}
		}

		if (duty_cycle < 300)
		{
			zc_timeout_threshold = 3500;
		}
		else if (duty_cycle < 100)
		{
			zc_timeout_threshold = 10000;
		}
		else
		{
			zc_timeout_threshold = 2000;
		}

		zctimeout++;
		if (zctimeout > zc_timeout_threshold)
		{
			//		prop_brake_active = 0;
			bad_commutation = 0;
			sensorless = 0;
			HAL_COMP_Stop_IT(&hcomp1);
			//			if(tempbrake){
			//
			//			}else{
			//			allOff();
			//			}
			running = 0;
			//		commutation_interval = 0;
			zctimeout = zc_timeout_threshold + 1;
			duty_cycle = 0;
		}

		if ((bemf_counts > 15 && TIM3->CNT > commutation_interval + commutation_interval / 2) && duty_cycle < 300)
		{
			if (forcedcount < 1)
			{
				forcedcount++;
				forcedCommutation();
			}
			bemf_counts = 0;
		}

    /* USER CODE END WHILE */

	}
}

void SystemClock_Config(void)
{
  RCC_OscInitTypeDef RCC_OscInitStruct = {0};
  RCC_ClkInitTypeDef RCC_ClkInitStruct = {0};
  RCC_PeriphCLKInitTypeDef PeriphClkInit = {0};

  /** Initializes the CPU, AHB and APB busses clocks
  */
  RCC_OscInitStruct.OscillatorType = RCC_OSCILLATORTYPE_HSI|RCC_OSCILLATORTYPE_HSI14
                              |RCC_OSCILLATORTYPE_LSI;
  RCC_OscInitStruct.HSIState = RCC_HSI_ON;
  RCC_OscInitStruct.HSI14State = RCC_HSI14_ON;
  RCC_OscInitStruct.HSICalibrationValue = RCC_HSICALIBRATION_DEFAULT;
  RCC_OscInitStruct.HSI14CalibrationValue = 16;
  RCC_OscInitStruct.LSIState = RCC_LSI_ON;
  RCC_OscInitStruct.PLL.PLLState = RCC_PLL_ON;
  RCC_OscInitStruct.PLL.PLLSource = RCC_PLLSOURCE_HSI;
  RCC_OscInitStruct.PLL.PLLMUL = RCC_PLL_MUL12;
  RCC_OscInitStruct.PLL.PREDIV = RCC_PREDIV_DIV1;
  if (HAL_RCC_OscConfig(&RCC_OscInitStruct) != HAL_OK)
  {
    Error_Handler();
  }
  /** Initializes the CPU, AHB and APB busses clocks
  */
  RCC_ClkInitStruct.ClockType = RCC_CLOCKTYPE_HCLK|RCC_CLOCKTYPE_SYSCLK
                              |RCC_CLOCKTYPE_PCLK1;
  RCC_ClkInitStruct.SYSCLKSource = RCC_SYSCLKSOURCE_PLLCLK;
  RCC_ClkInitStruct.AHBCLKDivider = RCC_SYSCLK_DIV1;
  RCC_ClkInitStruct.APB1CLKDivider = RCC_HCLK_DIV1;

  if (HAL_RCC_ClockConfig(&RCC_ClkInitStruct, FLASH_LATENCY_1) != HAL_OK)
  {
    Error_Handler();
  }
  PeriphClkInit.PeriphClockSelection = RCC_PERIPHCLK_USART1;
  PeriphClkInit.Usart1ClockSelection = RCC_USART1CLKSOURCE_PCLK1;
  if (HAL_RCCEx_PeriphCLKConfig(&PeriphClkInit) != HAL_OK)
  {
    Error_Handler();
  }
}

static void MX_ADC_Init(void)
{

  ADC_ChannelConfTypeDef sConfig = {0};

  /** Configure the global features of the ADC (Clock, Resolution, Data Alignment and number of conversion)
  */
  hadc.Instance = ADC1;
  hadc.Init.ClockPrescaler = ADC_CLOCK_ASYNC_DIV1;
  hadc.Init.Resolution = ADC_RESOLUTION_12B;
  hadc.Init.DataAlign = ADC_DATAALIGN_RIGHT;
  hadc.Init.ScanConvMode = ADC_SCAN_DIRECTION_FORWARD;
  hadc.Init.EOCSelection = ADC_EOC_SEQ_CONV;
  hadc.Init.LowPowerAutoWait = DISABLE;
  hadc.Init.LowPowerAutoPowerOff = DISABLE;
  hadc.Init.ContinuousConvMode = DISABLE;
  hadc.Init.DiscontinuousConvMode = ENABLE;
  hadc.Init.ExternalTrigConv = ADC_EXTERNALTRIGCONV_T1_CC4;
  hadc.Init.ExternalTrigConvEdge = ADC_EXTERNALTRIGCONVEDGE_RISING;
  hadc.Init.DMAContinuousRequests = ENABLE;
  hadc.Init.Overrun = ADC_OVR_DATA_PRESERVED;
  if (HAL_ADC_Init(&hadc) != HAL_OK)
  {
    Error_Handler();
  }
  /** Configure for the selected ADC regular channel to be converted.
  */
  sConfig.Channel = ADC_CHANNEL_3;
  sConfig.Rank = ADC_RANK_CHANNEL_NUMBER;
  sConfig.SamplingTime = ADC_SAMPLETIME_239CYCLES_5;
  if (HAL_ADC_ConfigChannel(&hadc, &sConfig) != HAL_OK)
  {
    Error_Handler();
  }
  /** Configure for the selected ADC regular channel to be converted.
  */
  sConfig.Channel = ADC_CHANNEL_6;
  if (HAL_ADC_ConfigChannel(&hadc, &sConfig) != HAL_OK)
  {
    Error_Handler();
  }

}

static void MX_COMP1_Init(void)
{

  hcomp1.Instance = COMP1;
  hcomp1.Init.InvertingInput = COMP_INVERTINGINPUT_DAC2;
  hcomp1.Init.NonInvertingInput = COMP_NONINVERTINGINPUT_IO1;
  hcomp1.Init.Output = COMP_OUTPUT_NONE;
  hcomp1.Init.OutputPol = COMP_OUTPUTPOL_NONINVERTED;
  hcomp1.Init.Hysteresis = COMP_HYSTERESIS_LOW;
  hcomp1.Init.Mode = COMP_MODE_HIGHSPEED;
  hcomp1.Init.WindowMode = COMP_WINDOWMODE_DISABLE;
  hcomp1.Init.TriggerMode = COMP_TRIGGERMODE_IT_RISING_FALLING;
  if (HAL_COMP_Init(&hcomp1) != HAL_OK)
  {
    Error_Handler();
  }

}

static void MX_IWDG_Init(void)
{

  hiwdg.Instance = IWDG;
  hiwdg.Init.Prescaler = IWDG_PRESCALER_16;
  hiwdg.Init.Window = 4095;
  hiwdg.Init.Reload = 4000;
  if (HAL_IWDG_Init(&hiwdg) != HAL_OK)
  {
    Error_Handler();
  }

}

static void MX_TIM1_Init(void)
{

  TIM_ClockConfigTypeDef sClockSourceConfig = {0};
  TIM_MasterConfigTypeDef sMasterConfig = {0};
  TIM_OC_InitTypeDef sConfigOC = {0};
  TIM_BreakDeadTimeConfigTypeDef sBreakDeadTimeConfig = {0};

  htim1.Instance = TIM1;
  htim1.Init.Prescaler = 0;
  htim1.Init.CounterMode = TIM_COUNTERMODE_CENTERALIGNED1;
  htim1.Init.Period = 999;
  htim1.Init.ClockDivision = TIM_CLOCKDIVISION_DIV1;
  htim1.Init.RepetitionCounter = 0;
  htim1.Init.AutoReloadPreload = TIM_AUTORELOAD_PRELOAD_DISABLE;
  if (HAL_TIM_Base_Init(&htim1) != HAL_OK)
  {
    Error_Handler();
  }
  sClockSourceConfig.ClockSource = TIM_CLOCKSOURCE_INTERNAL;
  if (HAL_TIM_ConfigClockSource(&htim1, &sClockSourceConfig) != HAL_OK)
  {
    Error_Handler();
  }
  if (HAL_TIM_PWM_Init(&htim1) != HAL_OK)
  {
    Error_Handler();
  }
  sMasterConfig.MasterOutputTrigger = TIM_TRGO_RESET;
  sMasterConfig.MasterSlaveMode = TIM_MASTERSLAVEMODE_DISABLE;
  if (HAL_TIMEx_MasterConfigSynchronization(&htim1, &sMasterConfig) != HAL_OK)
  {
    Error_Handler();
  }
  sConfigOC.OCMode = TIM_OCMODE_PWM1;
  sConfigOC.Pulse = 0;
  sConfigOC.OCPolarity = TIM_OCPOLARITY_HIGH;
  sConfigOC.OCNPolarity = TIM_OCNPOLARITY_HIGH;
  sConfigOC.OCFastMode = TIM_OCFAST_DISABLE;
  sConfigOC.OCIdleState = TIM_OCIDLESTATE_RESET;
  sConfigOC.OCNIdleState = TIM_OCNIDLESTATE_RESET;
  if (HAL_TIM_PWM_ConfigChannel(&htim1, &sConfigOC, TIM_CHANNEL_1) != HAL_OK)
  {
    Error_Handler();
  }
  if (HAL_TIM_PWM_ConfigChannel(&htim1, &sConfigOC, TIM_CHANNEL_2) != HAL_OK)
  {
    Error_Handler();
  }
  if (HAL_TIM_PWM_ConfigChannel(&htim1, &sConfigOC, TIM_CHANNEL_3) != HAL_OK)
  {
    Error_Handler();
  }
  if (HAL_TIM_PWM_ConfigChannel(&htim1, &sConfigOC, TIM_CHANNEL_4) != HAL_OK)
  {
    Error_Handler();
  }
  sBreakDeadTimeConfig.OffStateRunMode = TIM_OSSR_DISABLE;
  sBreakDeadTimeConfig.OffStateIDLEMode = TIM_OSSI_DISABLE;
  sBreakDeadTimeConfig.LockLevel = TIM_LOCKLEVEL_OFF;
  sBreakDeadTimeConfig.DeadTime = 60;
  sBreakDeadTimeConfig.BreakState = TIM_BREAK_DISABLE;
  sBreakDeadTimeConfig.BreakPolarity = TIM_BREAKPOLARITY_HIGH;
  sBreakDeadTimeConfig.AutomaticOutput = TIM_AUTOMATICOUTPUT_DISABLE;
  if (HAL_TIMEx_ConfigBreakDeadTime(&htim1, &sBreakDeadTimeConfig) != HAL_OK)
  {
    Error_Handler();
  }
  HAL_TIM_MspPostInit(&htim1);

}

static void MX_TIM2_Init(void)
{

  TIM_ClockConfigTypeDef sClockSourceConfig = {0};
  TIM_MasterConfigTypeDef sMasterConfig = {0};

  htim2.Instance = TIM2;
  htim2.Init.Prescaler = 100;
  htim2.Init.CounterMode = TIM_COUNTERMODE_UP;
  htim2.Init.Period = 5000;
  htim2.Init.ClockDivision = TIM_CLOCKDIVISION_DIV1;
  htim2.Init.AutoReloadPreload = TIM_AUTORELOAD_PRELOAD_DISABLE;
  if (HAL_TIM_Base_Init(&htim2) != HAL_OK)
  {
    Error_Handler();
  }
  sClockSourceConfig.ClockSource = TIM_CLOCKSOURCE_INTERNAL;
  if (HAL_TIM_ConfigClockSource(&htim2, &sClockSourceConfig) != HAL_OK)
  {
    Error_Handler();
  }
  sMasterConfig.MasterOutputTrigger = TIM_TRGO_RESET;
  sMasterConfig.MasterSlaveMode = TIM_MASTERSLAVEMODE_DISABLE;
  if (HAL_TIMEx_MasterConfigSynchronization(&htim2, &sMasterConfig) != HAL_OK)
  {
    Error_Handler();
  }

}

static void MX_TIM3_Init(void)
{

  TIM_ClockConfigTypeDef sClockSourceConfig = {0};
  TIM_MasterConfigTypeDef sMasterConfig = {0};

  htim3.Instance = TIM3;
  htim3.Init.Prescaler = 10;
  htim3.Init.CounterMode = TIM_COUNTERMODE_UP;
  htim3.Init.Period = 65535;
  htim3.Init.ClockDivision = TIM_CLOCKDIVISION_DIV1;
  htim3.Init.AutoReloadPreload = TIM_AUTORELOAD_PRELOAD_DISABLE;
  if (HAL_TIM_Base_Init(&htim3) != HAL_OK)
  {
    Error_Handler();
  }
  sClockSourceConfig.ClockSource = TIM_CLOCKSOURCE_INTERNAL;
  if (HAL_TIM_ConfigClockSource(&htim3, &sClockSourceConfig) != HAL_OK)
  {
    Error_Handler();
  }
  sMasterConfig.MasterOutputTrigger = TIM_TRGO_RESET;
  sMasterConfig.MasterSlaveMode = TIM_MASTERSLAVEMODE_DISABLE;
  if (HAL_TIMEx_MasterConfigSynchronization(&htim3, &sMasterConfig) != HAL_OK)
  {
    Error_Handler();
  }

}

static void MX_TIM15_Init(void)
{

  TIM_ClockConfigTypeDef sClockSourceConfig = {0};
  TIM_MasterConfigTypeDef sMasterConfig = {0};
  TIM_IC_InitTypeDef sConfigIC = {0};

  htim15.Instance = TIM15;
  htim15.Init.Prescaler = 0;
  htim15.Init.CounterMode = TIM_COUNTERMODE_UP;
  htim15.Init.Period = 0xffff;
  htim15.Init.ClockDivision = TIM_CLOCKDIVISION_DIV1;
  htim15.Init.RepetitionCounter = 0;
  htim15.Init.AutoReloadPreload = TIM_AUTORELOAD_PRELOAD_DISABLE;
  if (HAL_TIM_Base_Init(&htim15) != HAL_OK)
  {
    Error_Handler();
  }
  sClockSourceConfig.ClockSource = TIM_CLOCKSOURCE_INTERNAL;
  if (HAL_TIM_ConfigClockSource(&htim15, &sClockSourceConfig) != HAL_OK)
  {
    Error_Handler();
  }
  if (HAL_TIM_IC_Init(&htim15) != HAL_OK)
  {
    Error_Handler();
  }
  sMasterConfig.MasterOutputTrigger = TIM_TRGO_RESET;
  sMasterConfig.MasterSlaveMode = TIM_MASTERSLAVEMODE_DISABLE;
  if (HAL_TIMEx_MasterConfigSynchronization(&htim15, &sMasterConfig) != HAL_OK)
  {
    Error_Handler();
  }
  sConfigIC.ICPolarity = TIM_INPUTCHANNELPOLARITY_BOTHEDGE;
  sConfigIC.ICSelection = TIM_ICSELECTION_DIRECTTI;
  sConfigIC.ICPrescaler = TIM_ICPSC_DIV1;
  sConfigIC.ICFilter = 0;
  if (HAL_TIM_IC_ConfigChannel(&htim15, &sConfigIC, TIM_CHANNEL_1) != HAL_OK)
  {
    Error_Handler();
  }

}

static void MX_USART1_UART_Init(void)
{

  huart1.Instance = USART1;
  huart1.Init.BaudRate = 115200;
  huart1.Init.WordLength = UART_WORDLENGTH_8B;
  huart1.Init.StopBits = UART_STOPBITS_1;
  huart1.Init.Parity = UART_PARITY_NONE;
  huart1.Init.Mode = UART_MODE_TX_RX;
  huart1.Init.HwFlowCtl = UART_HWCONTROL_NONE;
  huart1.Init.OverSampling = UART_OVERSAMPLING_16;
  huart1.Init.OneBitSampling = UART_ONE_BIT_SAMPLE_DISABLE;
  huart1.AdvancedInit.AdvFeatureInit = UART_ADVFEATURE_NO_INIT;
  if (HAL_UART_Init(&huart1) != HAL_OK)
  {
    Error_Handler();
  }

}

static void MX_DMA_Init(void)
{
  /* DMA controller clock enable */
  __HAL_RCC_DMA1_CLK_ENABLE();

  /* DMA interrupt init */
  /* DMA1_Channel1_IRQn interrupt configuration */
  HAL_NVIC_SetPriority(DMA1_Channel1_IRQn, 2, 0);
  HAL_NVIC_EnableIRQ(DMA1_Channel1_IRQn);
  /* DMA1_Channel2_3_IRQn interrupt configuration */
  HAL_NVIC_SetPriority(DMA1_Channel2_3_IRQn, 0, 0);
  HAL_NVIC_EnableIRQ(DMA1_Channel2_3_IRQn);
  /* DMA1_Channel4_5_IRQn interrupt configuration */
  HAL_NVIC_SetPriority(DMA1_Channel4_5_IRQn, 2, 0);
  HAL_NVIC_EnableIRQ(DMA1_Channel4_5_IRQn);

}

static void MX_GPIO_Init(void)
{
  LL_GPIO_InitTypeDef GPIO_InitStruct = {0};

  /* GPIO Ports Clock Enable */
  LL_AHB1_GRP1_EnableClock(LL_AHB1_GRP1_PERIPH_GPIOA);
  LL_AHB1_GRP1_EnableClock(LL_AHB1_GRP1_PERIPH_GPIOB);

  /**/
  LL_GPIO_ResetOutputPin(GPIOA, LL_GPIO_PIN_15);

  /**/
  GPIO_InitStruct.Pin = LL_GPIO_PIN_15;
  GPIO_InitStruct.Mode = LL_GPIO_MODE_OUTPUT;
  GPIO_InitStruct.Speed = LL_GPIO_SPEED_FREQ_LOW;
  GPIO_InitStruct.OutputType = LL_GPIO_OUTPUT_PUSHPULL;
  GPIO_InitStruct.Pull = LL_GPIO_PULL_NO;
  LL_GPIO_Init(GPIOA, &GPIO_InitStruct);

}

void Error_Handler(void)
{
				while (1)
				{
				}
}

/************************ (C) COPYRIGHT STMicroelectronics *****END OF FILE****/
